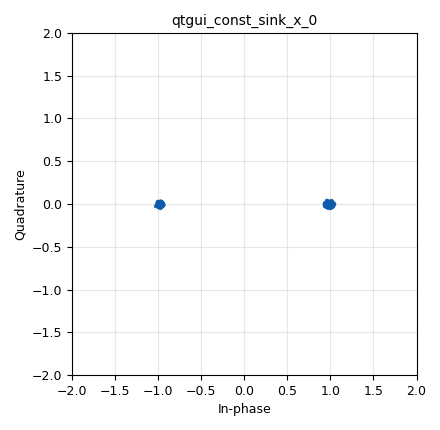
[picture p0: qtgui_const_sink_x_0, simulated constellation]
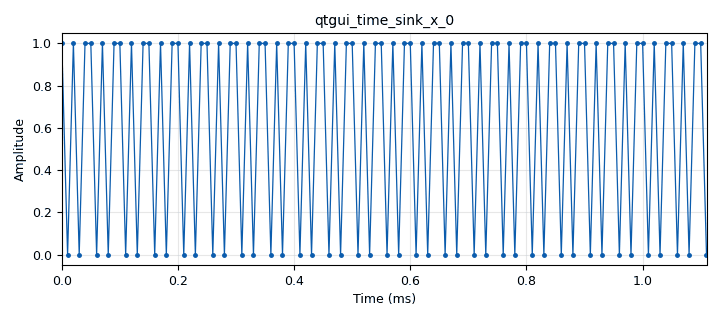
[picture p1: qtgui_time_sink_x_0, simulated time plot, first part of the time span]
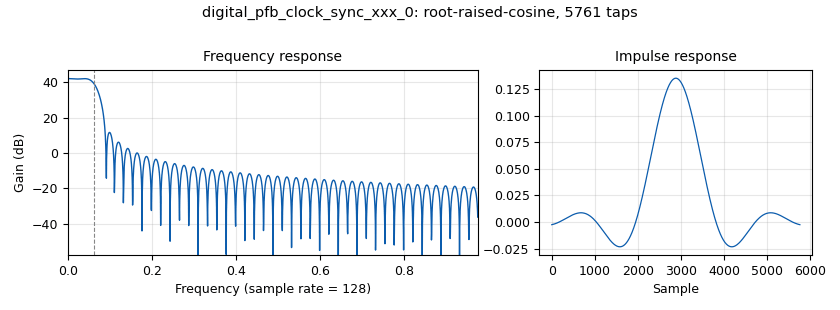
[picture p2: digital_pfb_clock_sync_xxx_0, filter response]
options:
  parameters:
    author: wcc
    generate_options: qt_gui
    id: lab2_bpsk_demod
    output_language: python
    title: lab2_bpsk_demod
  states: {}

blocks:
- name: BPSK
  id: variable_constellation
  parameters:
    const_points: '[-1, 1]'
    dims: '1'
    precision: '8'
    rot_sym: '4'
    sym_map: '[0, 1]'
    type: calcdist
  states: {}
- name: freq_offset
  id: variable_qtgui_range
  parameters:
    label: freq_offset
    orient: Qt.Horizontal
    start: '-1000'
    step: '1'
    stop: '1000'
    value: '0'
  states: {}
- name: nfilts
  id: variable
  parameters:
    value: '128'
  states: {}
- name: noise_voltage
  id: variable_qtgui_range
  parameters:
    orient: Qt.Horizontal
    start: '0.0'
    step: '.001'
    stop: '1'
    value: '.063'
  states: {}
- name: rrc_taps
  id: variable
  parameters:
    value: firdes.root_raised_cosine(nfilts, nfilts, 1.0/float(sps), 0.35, 45*nfilts)
  states: {}
- name: samp_rate
  id: variable
  parameters:
    value: '100000'
  states: {}
- name: sps
  id: variable
  parameters:
    value: '8'
  states: {}
- name: timing_loop_bandwidth
  id: variable_qtgui_range
  parameters:
    orient: Qt.Horizontal
    start: '.001'
    step: '.001'
    stop: '.2'
    value: '.063'
  states: {}
- name: blocks_char_to_float_0
  id: blocks_char_to_float
  parameters:
    scale: '1'
  states: {}
- name: blocks_complex_to_real_0
  id: blocks_complex_to_real
  parameters: {}
  states: {}
- name: blocks_throttle_0
  id: blocks_throttle
  parameters:
    samples_per_second: samp_rate
    type: byte
  states: {}
- name: blocks_unpacked_to_packed_xx_0
  id: blocks_unpacked_to_packed_xx
  parameters:
    bits_per_chunk: '1'
    endianness: gr.GR_MSB_FIRST
    type: byte
  states: {}
- name: blocks_vector_source_x_0_0_0
  id: blocks_vector_source_x
  parameters:
    repeat: 'True'
    type: byte
    vector: '[1, 0, 1, 1,0]'
  states: {}
- name: channels_channel_model_0_0
  id: channels_channel_model
  parameters:
    epsilon: '1.0'
    freq_offset: freq_offset/samp_rate
    noise_voltage: noise_voltage
    seed: '0'
    taps: '1.0 '
  states: {}
- name: digital_binary_slicer_fb_0
  id: digital_binary_slicer_fb
  parameters: {}
  states: {}
- name: digital_constellation_modulator_0
  id: digital_constellation_modulator
  parameters:
    constellation: BPSK
    differential: 'False'
    excess_bw: '0.35'
    samples_per_symbol: sps
  states: {}
- name: digital_pfb_clock_sync_xxx_0
  id: digital_pfb_clock_sync_xxx
  parameters:
    filter_size: nfilts
    init_phase: nfilts/2
    loop_bw: timing_loop_bandwidth
    max_dev: '1.5'
    osps: '1'
    sps: sps
    taps: rrc_taps
    type: ccf
  states: {}
- name: qtgui_const_sink_x_0
  id: qtgui_const_sink_x
  parameters:
    size: '1024'
    type: complex
  states: {}
- name: qtgui_time_sink_x_0
  id: qtgui_time_sink_x
  parameters:
    autoscale: 'True'
    marker1: '0'
    size: '1024'
    srate: samp_rate
    type: float
  states: {}

connections:
- [blocks_char_to_float_0, '0', qtgui_time_sink_x_0, '0']
- [blocks_complex_to_real_0, '0', digital_binary_slicer_fb_0, '0']
- [blocks_throttle_0, '0', digital_constellation_modulator_0, '0']
- [blocks_unpacked_to_packed_xx_0, '0', blocks_throttle_0, '0']
- [blocks_vector_source_x_0_0_0, '0', blocks_unpacked_to_packed_xx_0, '0']
- [channels_channel_model_0_0, '0', digital_pfb_clock_sync_xxx_0, '0']
- [digital_binary_slicer_fb_0, '0', blocks_char_to_float_0, '0']
- [digital_constellation_modulator_0, '0', channels_channel_model_0_0, '0']
- [digital_pfb_clock_sync_xxx_0, '0', blocks_complex_to_real_0, '0']
- [digital_pfb_clock_sync_xxx_0, '0', qtgui_const_sink_x_0, '0']

metadata:
  file_format: 1
